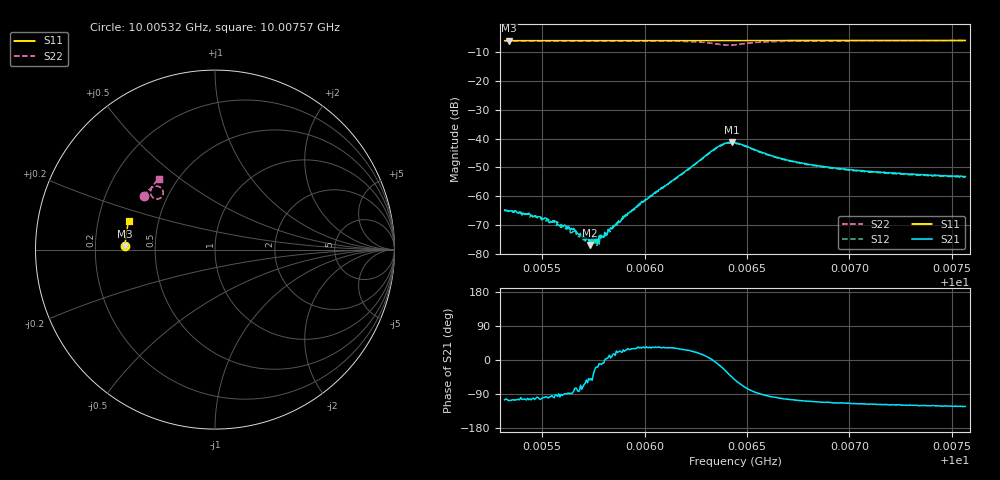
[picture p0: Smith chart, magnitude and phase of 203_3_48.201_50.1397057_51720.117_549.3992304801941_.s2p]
#  HZ  S  RI  R  50.00
! Rohde & Schwarz Vector Network Analyzer
! Rohde-Schwarz,ZNB20-2Port,1311601062101988,3.16
! Created: UTC 3/20/2024, 11:45:08 AM
! freq[Hz]  re:S11  im:S11  re:S21  im:S21  re:S12  im:S12  re:S22  im:S22
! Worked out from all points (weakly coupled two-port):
!   401 points, 10.00532 GHz to 10.00757 GHz, reference 50 ohm
!   highest |S21| = -41.33 dB at 10.00642 GHz (marker M1); lowest = -77.0 dB at 10.00573 GHz (marker M2)
!   lowest |S11| = -6.0 dB at 10.00534 GHz (marker M3), VSWR 3.00, Z = 16.7 + j0.868 ohm
!   |S11| at or under -10 dB: nowhere
!   |S22| runs from -7.6 to -6.0 dB; largest |S21 - S12| = 0.00052
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1.0005316e10  -0.5001 0.0183  -0.000148 -0.000557  -0.000112 -0.000531  -0.3974 0.2966
1.0005339e10  -0.4999 0.0195  -0.000161 -0.000522  -0.000119 -0.000528  -0.3966 0.298
1.0005434e10  -0.4999 0.0258  -0.000131 -0.000491  -8.76e-05 -0.000469  -0.3924 0.3036
1.0005536e10  -0.4998 0.0325  -4.36e-05 -0.00034  -4.94e-05 -0.000372  -0.3879 0.3096
1.0005558e10  -0.4996 0.0339  -6.17e-05 -0.000368  -6.94e-06 -0.000372  -0.3869 0.3111
1.0005586e10  -0.4995 0.0355  -3.96e-05 -0.000299  3.36e-05 -0.00031  -0.3857 0.3128
1.000562e10  -0.4996 0.0379  2.14e-06 -0.000268  3.94e-05 -0.000275  -0.3841 0.3149
1.0005693e10  -0.4991 0.0427  4.48e-05 -0.000197  5.77e-05 -0.000185  -0.3804 0.3194
1.0005721e10  -0.4992 0.0445  9.13e-05 -0.000158  9.51e-05 -0.000156  -0.379 0.321
1.0005733e10  -0.4991 0.0453  8.64e-05 -0.000113  0.000121 -9.54e-05  -0.3784 0.3217
1.0005766e10  -0.499 0.0474  0.000185 -6.3e-05  0.000129 -3.96e-05  -0.3765 0.3239
1.0005806e10  -0.4987 0.0499  0.000234 2.12e-06  0.000203 2.79e-05  -0.3743 0.3265
1.0005884e10  -0.4984 0.055  0.000349 0.000139  0.000332 0.000169  -0.3694 0.3317
1.000598e10  -0.4979 0.0613  0.000631 0.000409  0.000597 0.00042  -0.3623 0.3382
1.000607e10  -0.4973 0.067  0.00106 0.000733  0.00102 0.000769  -0.3538 0.3444
1.0006351e10  -0.4945 0.085  0.0069 -0.000945  0.00681 -0.00058  -0.2905 0.3291
1.0006424e10  -0.4937 0.0893  0.00615 -0.00597  0.00631 -0.00552  -0.3059 0.2866
1.0006441e10  -0.4935 0.0902  0.00512 -0.00672  0.00535 -0.00631  -0.3163 0.2827
1.0006649e10  -0.4921 0.1035  -0.000788 -0.00463  -0.000561 -0.00453  -0.3591 0.3257
1.0006818e10  -0.49 0.1144  -0.00115 -0.00328  -0.000984 -0.00324  -0.3521 0.3468
1.0007195e10  -0.4848 0.138  -0.00121 -0.00224  -0.00105 -0.00225  -0.3321 0.3736
1.0007566e10  -0.4784 0.1612  -0.00117 -0.00184  -0.00103 -0.00184  -0.3131 0.3928
